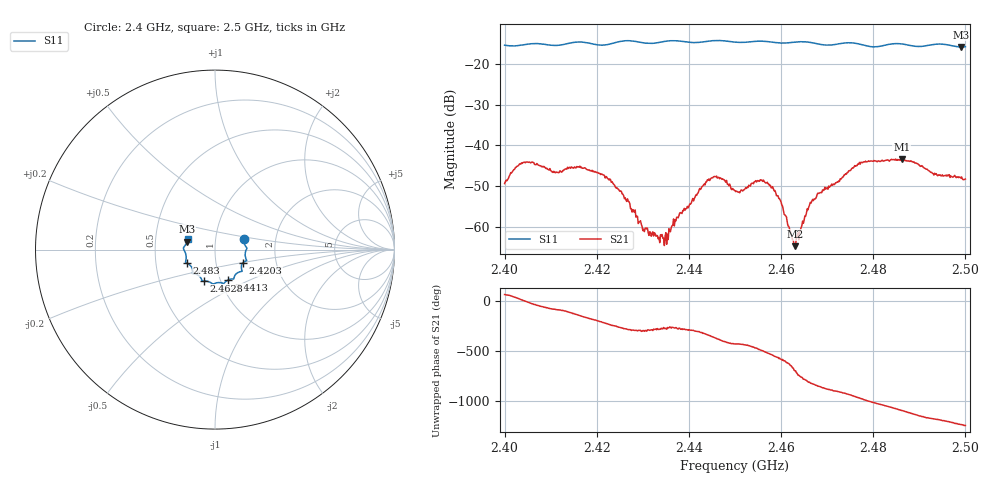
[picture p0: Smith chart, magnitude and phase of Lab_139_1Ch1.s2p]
# Hz S RI R 50
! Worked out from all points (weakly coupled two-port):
!   601 points, 2.4 GHz to 2.5 GHz, reference 50 ohm
!   highest |S21| = -43.36 dB at 2.4862 GHz (marker M1); lowest = -64.8 dB at 2.463 GHz (marker M2)
!   lowest |S11| = -15.8 dB at 2.499 GHz (marker M3), VSWR 1.39, Z = 36.4 + j3.37 ohm
!   |S11| at or under -10 dB: start of sweep to end of sweep
!   S12 and S22 are empty: the file has one direction only
!   S11 on the Smith chart (normalised r, x): 2.4 GHz: 1.37, +0.16; 2.4203 GHz: 1.35, -0.21; 2.4413 GHz: 1.09, -0.38; 2.4628 GHz: 0.83, -0.30; 2.483 GHz: 0.72, -0.11; 2.5 GHz: 0.73, +0.09
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2.4e9  0.1607 0.0568  0.00139 0.0031  0 0  0 0
2.4045e9  0.1734 0.0151  0.0061 -0.000133  0 0  0 0
2.411333e9  0.1677 -0.0243  0.000309 -0.00464  0 0  0 0
2.416667e9  0.1761 -0.0615  -0.00471 -0.00263  0 0  0 0
2.420333e9  0.1551 -0.074  -0.00429 0.00153  0 0  0 0
2.430167e9  0.1307 -0.1268  0.000412 0.000832  0 0  0 0
2.433333e9  0.1081 -0.1484  0.000189 0.000684  0 0  0 0
2.435e9  0.1052 -0.1593  4.69e-05 0.000842  0 0  0 0
2.441333e9  0.0743 -0.1681  0.0012 0.00198  0 0  0 0
2.4455e9  0.0509 -0.1876  0.00412 -0.000387  0 0  0 0
2.45e9  0.0293 -0.1837  0.000919 -0.00261  0 0  0 0
2.457167e9  -0.0177 -0.1879  -0.00321 -0.001  0 0  0 0
2.459833e9  -0.0374 -0.1777  -0.00156 0.00143  0 0  0 0
2.462833e9  -0.0631 -0.1748  0.000525 0.000251  0 0  0 0
2.463e9  -0.0638 -0.1748  0.000543 0.00019  0 0  0 0
2.466667e9  -0.0743 -0.1676  -0.000678 -0.00194  0 0  0 0
2.4765e9  -0.1247 -0.1277  -0.00219 0.0052  0 0  0 0
2.483e9  -0.1549 -0.0767  0.00606 0.00256  0 0  0 0
2.483333e9  -0.1572 -0.0757  0.00618 0.00209  0 0  0 0
2.486167e9  -0.1637 -0.0668  0.00637 -0.00236  0 0  0 0
2.499e9  -0.1555 0.0451  -0.00374 -0.00128  0 0  0 0
2.5e9  -0.1525 0.0587  -0.0038 -0.000652  0 0  0 0
